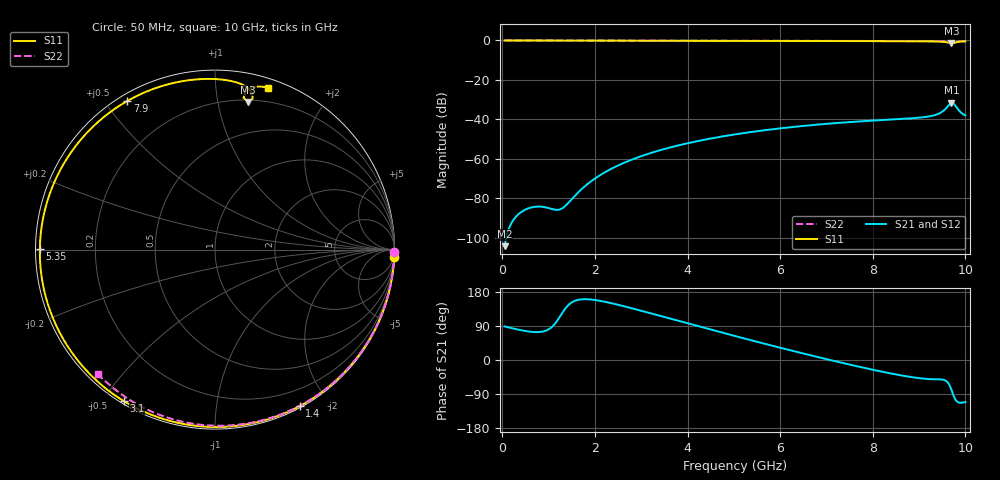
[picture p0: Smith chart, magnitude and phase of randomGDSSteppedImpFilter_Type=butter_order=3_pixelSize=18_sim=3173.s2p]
! freq	dB(S11)	phase(S11)	dB(S12)	phase(S12)
!  dB(S21)	phase(S21)	dB(S22)	phase(S22)
!S-par simulation data
#  GHz  S  DB  R 50
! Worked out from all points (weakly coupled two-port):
!   200 points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, 50 MHz to 10 GHz, reference 50 ohm
!   highest |S21| = -31.64 dB at 9.7 GHz (marker M1); lowest = -104.4 dB at 50 MHz (marker M2)
!   lowest |S11| = -1.5 dB at 9.7 GHz (marker M3), VSWR 11.69, Z = 10.8 + j61.4 ohm
!   |S11| at or under -10 dB: nowhere
!   |S22| runs from -0.4 to 0.0 dB; largest |S21 - S12| = 0
!   S11 on the Smith chart (normalised r, x): 50 MHz: 0, -49; 1.4 GHz: 0.02, -1.68; 3.1 GHz: 0.01, -0.56; 5.35 GHz: 0.01, +0.00; 7.9 GHz: 0.03, +0.57; 10 GHz: 0.08, +1.38
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0.05  -0.00 -2.3  -104.39 88.6  -104.39 88.6  -0.00 -0.8
0.65  -0.04 -29.6  -84.62 74.1  -84.62 74.1  -0.01 -9.9
1.05  -0.06 -47.0  -85.38 85.0  -85.38 85.0  -0.02 -16.0
1.4  -0.07 -61.5  -83.06 141.7  -83.06 141.7  -0.03 -21.3
1.55  -0.08 -67.5  -79.25 155.2  -79.25 155.2  -0.03 -23.5
1.75  -0.09 -75.3  -74.65 160.4  -74.65 160.4  -0.03 -26.5
2.3  -0.11 -95.3  -65.80 151.5  -65.80 151.5  -0.04 -34.7
3.1  -0.13 -121.1  -57.92 126.6  -57.92 126.6  -0.06 -46.2
3.4  -0.14 -129.9  -55.74 116.7  -55.74 116.7  -0.07 -50.5
4.2  -0.16 -151.7  -51.15 90.1  -51.15 90.1  -0.09 -61.6
5.05  -0.20 -172.9  -47.58 62.4  -47.58 62.4  -0.11 -73.1
5.35  -0.21 179.9  -46.54 52.8  -46.54 52.8  -0.12 -77.0
6  -0.24 164.7  -44.61 32.4  -44.61 32.4  -0.15 -85.4
6.7  -0.28 148.6  -42.93 11.1  -42.93 11.1  -0.18 -94.2
7.9  -0.34 120.6  -40.81 -23.1  -40.81 -23.1  -0.26 -108.8
8.35  -0.37 109.8  -40.19 -34.6  -40.19 -34.6  -0.29 -114.1
9.3  -0.49 85.6  -38.13 -50.8  -38.13 -50.8  -0.37 -125.2
9.5  -0.65 79.7  -36.16 -51.6  -36.16 -51.6  -0.39 -127.5
9.7  -1.49 77.3  -31.64 -78.9  -31.64 -78.9  -0.40 -129.8
9.8  -0.91 79.0  -33.59 -107.7  -33.59 -107.7  -0.40 -131.0
9.9  -0.55 75.3  -36.49 -113.1  -36.49 -113.1  -0.42 -132.2
10  -0.45 71.9  -38.04 -111.1  -38.04 -111.1  -0.43 -133.4
